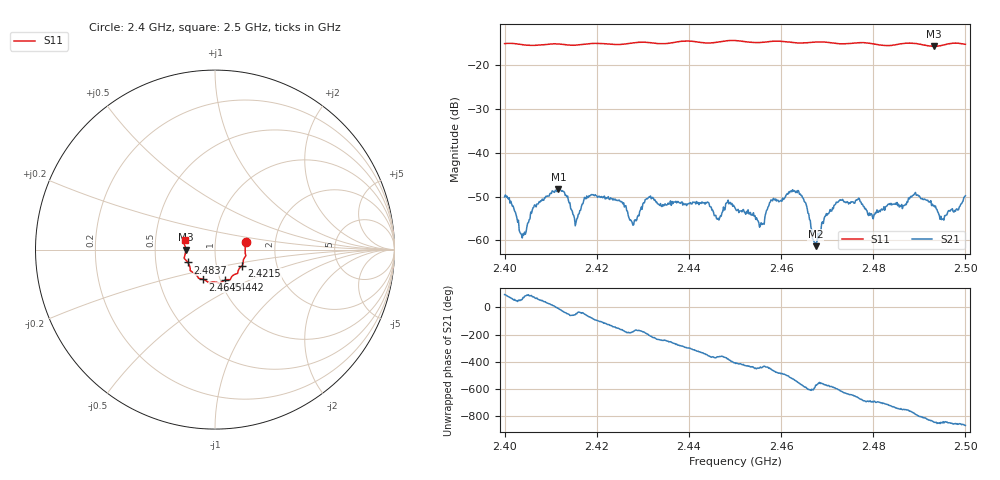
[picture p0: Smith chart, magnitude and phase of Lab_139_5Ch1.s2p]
# Hz S RI R 50
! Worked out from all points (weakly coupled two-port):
!   601 points, 2.4 GHz to 2.5 GHz, reference 50 ohm
!   highest |S21| = -48.29 dB at 2.4117 GHz (marker M1); lowest = -61.3 dB at 2.4675 GHz (marker M2)
!   lowest |S11| = -15.7 dB at 2.4932 GHz (marker M3), VSWR 1.39, Z = 35.9 - j0.0474 ohm
!   |S11| at or under -10 dB: start of sweep to end of sweep
!   S12 and S22 are empty: the file has one direction only
!   S11 on the Smith chart (normalised r, x): 2.4 GHz: 1.41, +0.12; 2.4215 GHz: 1.33, -0.25; 2.4442 GHz: 1.05, -0.37; 2.4645 GHz: 0.83, -0.29; 2.4837 GHz: 0.73, -0.11; 2.5 GHz: 0.71, +0.07
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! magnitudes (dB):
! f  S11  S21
! 2.4 GHz  -15.1  -50.1
! 2.404 GHz  -15.4  -58.5
! 2.4065 GHz  -15.5  -51.9
! 2.4117 GHz  -15.2  -48.3
! 2.4153 GHz  -15.5  -56.7
! 2.4167 GHz  -15.3  -52.3
! 2.4215 GHz  -15.1  -50.0
! 2.4277 GHz  -15.0  -55.8
! 2.4333 GHz  -15.1  -51.7
! 2.4442 GHz  -15.0  -51.3
! 2.45 GHz  -14.4  -52.6
! 2.4558 GHz  -14.8  -56.4
! 2.458 GHz  -14.6  -50.9
! 2.4645 GHz  -15.0  -49.8
! 2.4667 GHz  -14.8  -57.6
! 2.4675 GHz  -14.8  -61.3
! 2.4725 GHz  -15.1  -51.1
! 2.4833 GHz  -15.6  -51.7
! 2.4837 GHz  -15.5  -51.9
! 2.4932 GHz  -15.7  -52.0
! 2.495 GHz  -15.5  -55.1
! 2.5 GHz  -15.3  -49.8
